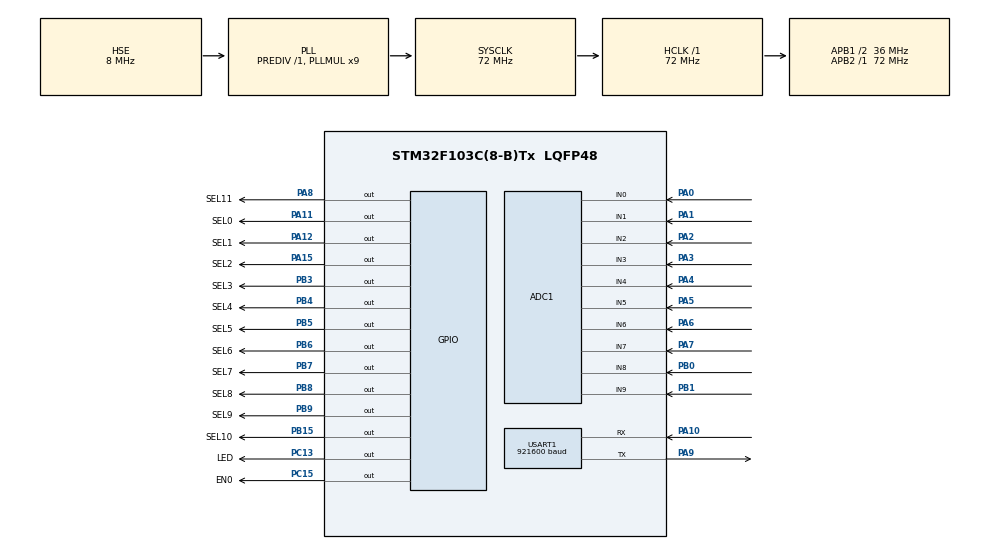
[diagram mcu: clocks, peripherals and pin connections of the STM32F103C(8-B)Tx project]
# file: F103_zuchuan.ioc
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ADC1.Channel-0\#ChannelRegularConversion=ADC_CHANNEL_0
ADC1.Channel-1\#ChannelRegularConversion=ADC_CHANNEL_1
ADC1.Channel-2\#ChannelRegularConversion=ADC_CHANNEL_2
ADC1.Channel-3\#ChannelRegularConversion=ADC_CHANNEL_3
ADC1.Channel-4\#ChannelRegularConversion=ADC_CHANNEL_4
ADC1.Channel-5\#ChannelRegularConversion=ADC_CHANNEL_5
ADC1.Channel-6\#ChannelRegularConversion=ADC_CHANNEL_6
ADC1.Channel-7\#ChannelRegularConversion=ADC_CHANNEL_7
ADC1.Channel-8\#ChannelRegularConversion=ADC_CHANNEL_8
ADC1.Channel-9\#ChannelRegularConversion=ADC_CHANNEL_9
ADC1.ContinuousConvMode=ENABLE
ADC1.NbrOfConversion=10
ADC1.NbrOfConversionFlag=1
ADC1.Rank-0\#ChannelRegularConversion=1
ADC1.Rank-1\#ChannelRegularConversion=2
ADC1.Rank-2\#ChannelRegularConversion=3
ADC1.Rank-3\#ChannelRegularConversion=4
ADC1.Rank-4\#ChannelRegularConversion=5
ADC1.Rank-5\#ChannelRegularConversion=6
ADC1.Rank-6\#ChannelRegularConversion=7
ADC1.Rank-7\#ChannelRegularConversion=8
ADC1.Rank-8\#ChannelRegularConversion=9
ADC1.Rank-9\#ChannelRegularConversion=10
ADC1.SamplingTime-0\#ChannelRegularConversion=ADC_SAMPLETIME_55CYCLES_5
ADC1.SamplingTime-1\#ChannelRegularConversion=ADC_SAMPLETIME_55CYCLES_5
ADC1.SamplingTime-2\#ChannelRegularConversion=ADC_SAMPLETIME_55CYCLES_5
ADC1.SamplingTime-3\#ChannelRegularConversion=ADC_SAMPLETIME_55CYCLES_5
ADC1.SamplingTime-4\#ChannelRegularConversion=ADC_SAMPLETIME_55CYCLES_5
ADC1.SamplingTime-5\#ChannelRegularConversion=ADC_SAMPLETIME_55CYCLES_5
ADC1.SamplingTime-6\#ChannelRegularConversion=ADC_SAMPLETIME_55CYCLES_5
ADC1.SamplingTime-7\#ChannelRegularConversion=ADC_SAMPLETIME_55CYCLES_5
ADC1.SamplingTime-8\#ChannelRegularConversion=ADC_SAMPLETIME_55CYCLES_5
ADC1.SamplingTime-9\#ChannelRegularConversion=ADC_SAMPLETIME_55CYCLES_5
ADC1.master=1
Dma.ADC1.0.Direction=DMA_PERIPH_TO_MEMORY
Dma.ADC1.0.Instance=DMA1_Channel1
Dma.ADC1.0.MemDataAlignment=DMA_MDATAALIGN_HALFWORD
Dma.ADC1.0.MemInc=DMA_MINC_ENABLE
Dma.ADC1.0.Mode=DMA_CIRCULAR
Dma.ADC1.0.PeriphDataAlignment=DMA_PDATAALIGN_HALFWORD
Dma.ADC1.0.PeriphInc=DMA_PINC_DISABLE
Dma.ADC1.0.Priority=DMA_PRIORITY_HIGH
Dma.Request0=ADC1
Dma.Request1=USART1_TX
Dma.USART1_TX.1.Direction=DMA_MEMORY_TO_PERIPH
Dma.USART1_TX.1.Instance=DMA1_Channel4
Dma.USART1_TX.1.MemDataAlignment=DMA_MDATAALIGN_BYTE
Dma.USART1_TX.1.MemInc=DMA_MINC_ENABLE
Dma.USART1_TX.1.Mode=DMA_NORMAL
Dma.USART1_TX.1.PeriphDataAlignment=DMA_PDATAALIGN_BYTE
Dma.USART1_TX.1.PeriphInc=DMA_PINC_DISABLE
Dma.USART1_TX.1.Priority=DMA_PRIORITY_LOW
FREERTOS.INCLUDE_vTaskDelayUntil=1
FREERTOS.Tasks01=defaultTask,0,128,StartDefaultTask,Default,NULL,Dynamic,NULL,NULL;ledTask,-3,64,LedTask,Default,NULL,Dynamic,NULL,NULL;uartTask,-2,64,UartTask,Default,NULL,Dynamic,NULL,NULL
FREERTOS.configMINIMAL_STACK_SIZE=64
FREERTOS.configTOTAL_HEAP_SIZE=2048
Mcu.Family=STM32F1
Mcu.Name=STM32F103C(8-B)Tx
Mcu.Package=LQFP48
NVIC.DMA1_Channel1_IRQn=true\:5\:0\:false\:false\:true\:true\:false\:true\:true
NVIC.DMA1_Channel4_IRQn=true\:5\:0\:false\:false\:true\:true\:false\:true\:true
NVIC.PriorityGroup=NVIC_PRIORITYGROUP_4
NVIC.TIM4_IRQn=true\:15\:0\:false\:false\:true\:false\:false\:true\:true
NVIC.TimeBase=TIM4_IRQn
NVIC.TimeBaseIP=TIM4
NVIC.USART1_IRQn=true\:5\:0\:false\:false\:true\:true\:true\:true\:true
PA0-WKUP.Signal=ADCx_IN0
PA1.Signal=ADCx_IN1
PA10.Mode=Asynchronous
PA10.Signal=USART1_RX
PA11.GPIO_Label=SEL0
PA11.GPIO_ModeDefaultOutputPP=GPIO_MODE_OUTPUT_PP
PA11.GPIO_PuPd=GPIO_PULLUP
PA11.GPIO_Speed=GPIO_SPEED_FREQ_HIGH
PA11.PinState=GPIO_PIN_SET
PA11.Signal=GPIO_Output
PA12.GPIO_Label=SEL1
PA12.GPIO_ModeDefaultOutputPP=GPIO_MODE_OUTPUT_PP
PA12.GPIO_PuPd=GPIO_PULLUP
PA12.GPIO_Speed=GPIO_SPEED_FREQ_HIGH
PA12.PinState=GPIO_PIN_SET
PA12.Signal=GPIO_Output
PA13.Mode=Serial_Wire
PA13.Signal=SYS_JTMS-SWDIO
PA14.Mode=Serial_Wire
PA14.Signal=SYS_JTCK-SWCLK
PA15.GPIO_Label=SEL2
PA15.GPIO_ModeDefaultOutputPP=GPIO_MODE_OUTPUT_PP
PA15.GPIO_PuPd=GPIO_PULLUP
PA15.GPIO_Speed=GPIO_SPEED_FREQ_HIGH
PA15.PinState=GPIO_PIN_SET
PA15.Signal=GPIO_Output
PA2.Signal=ADCx_IN2
PA3.Signal=ADCx_IN3
PA4.Signal=ADCx_IN4
PA5.Signal=ADCx_IN5
PA6.Signal=ADCx_IN6
PA7.Signal=ADCx_IN7
PA8.GPIO_Label=SEL11
PA8.GPIO_ModeDefaultOutputPP=GPIO_MODE_OUTPUT_PP
PA8.GPIO_PuPd=GPIO_PULLUP
PA8.GPIO_Speed=GPIO_SPEED_FREQ_HIGH
PA8.PinState=GPIO_PIN_SET
PA8.Signal=GPIO_Output
PA9.Mode=Asynchronous
PA9.Signal=USART1_TX
PB0.Signal=ADCx_IN8
PB1.Signal=ADCx_IN9
PB15.GPIO_Label=SEL10
PB15.GPIO_ModeDefaultOutputPP=GPIO_MODE_OUTPUT_PP
PB15.GPIO_PuPd=GPIO_PULLUP
PB15.GPIO_Speed=GPIO_SPEED_FREQ_HIGH
PB15.PinState=GPIO_PIN_SET
PB15.Signal=GPIO_Output
PB3.GPIO_Label=SEL3
PB3.GPIO_ModeDefaultOutputPP=GPIO_MODE_OUTPUT_PP
PB3.GPIO_PuPd=GPIO_PULLUP
PB3.GPIO_Speed=GPIO_SPEED_FREQ_HIGH
PB3.PinState=GPIO_PIN_SET
PB3.Signal=GPIO_Output
PB4.GPIO_Label=SEL4
PB4.GPIO_ModeDefaultOutputPP=GPIO_MODE_OUTPUT_PP
PB4.GPIO_PuPd=GPIO_PULLUP
PB4.GPIO_Speed=GPIO_SPEED_FREQ_HIGH
PB4.PinState=GPIO_PIN_SET
PB4.Signal=GPIO_Output
PB5.GPIO_Label=SEL5
PB5.GPIO_ModeDefaultOutputPP=GPIO_MODE_OUTPUT_PP
PB5.GPIO_PuPd=GPIO_PULLUP
PB5.GPIO_Speed=GPIO_SPEED_FREQ_HIGH
PB5.PinState=GPIO_PIN_SET
PB5.Signal=GPIO_Output
PB6.GPIO_Label=SEL6
PB6.GPIO_ModeDefaultOutputPP=GPIO_MODE_OUTPUT_PP
PB6.GPIO_PuPd=GPIO_PULLUP
PB6.GPIO_Speed=GPIO_SPEED_FREQ_HIGH
PB6.PinState=GPIO_PIN_SET
PB6.Signal=GPIO_Output
PB7.GPIO_Label=SEL7
PB7.GPIO_ModeDefaultOutputPP=GPIO_MODE_OUTPUT_PP
PB7.GPIO_PuPd=GPIO_PULLUP
PB7.GPIO_Speed=GPIO_SPEED_FREQ_HIGH
PB7.PinState=GPIO_PIN_SET
PB7.Signal=GPIO_Output
PB8.GPIO_Label=SEL8
PB8.GPIO_ModeDefaultOutputPP=GPIO_MODE_OUTPUT_PP
PB8.GPIO_PuPd=GPIO_PULLUP
PB8.GPIO_Speed=GPIO_SPEED_FREQ_HIGH
PB8.PinState=GPIO_PIN_SET
PB8.Signal=GPIO_Output
PB9.GPIO_Label=SEL9
PB9.GPIO_ModeDefaultOutputPP=GPIO_MODE_OUTPUT_PP
PB9.GPIO_PuPd=GPIO_PULLUP
PB9.GPIO_Speed=GPIO_SPEED_FREQ_HIGH
PB9.PinState=GPIO_PIN_SET
PB9.Signal=GPIO_Output
PC13-TAMPER-RTC.GPIO_Label=LED
PC13-TAMPER-RTC.GPIO_PuPd=GPIO_PULLUP
PC13-TAMPER-RTC.GPIO_Speed=GPIO_SPEED_FREQ_HIGH
PC13-TAMPER-RTC.PinState=GPIO_PIN_SET
PC13-TAMPER-RTC.Signal=GPIO_Output
PC15-OSC32_OUT.GPIO_Label=EN0
PC15-OSC32_OUT.GPIO_PuPd=GPIO_PULLDOWN
PC15-OSC32_OUT.GPIO_Speed=GPIO_SPEED_FREQ_LOW
PC15-OSC32_OUT.PinState=GPIO_PIN_RESET
PC15-OSC32_OUT.Signal=GPIO_Output
PD0-OSC_IN.Mode=HSE-External-Oscillator
PD0-OSC_IN.Signal=RCC_OSC_IN
PD1-OSC_OUT.Mode=HSE-External-Oscillator
PD1-OSC_OUT.Signal=RCC_OSC_OUT
ProjectManager.HeapSize=0x010
ProjectManager.StackSize=0xA00
ProjectManager.TargetToolchain=MDK-ARM V5.32
RCC.ADCPresc=RCC_ADCPCLK2_DIV6
RCC.AHBFreq_Value=72000000
RCC.APB1CLKDivider=RCC_HCLK_DIV2
RCC.APB1Freq_Value=36000000
RCC.APB1TimFreq_Value=72000000
RCC.APB2Freq_Value=72000000
RCC.APB2TimFreq_Value=72000000
RCC.HCLKFreq_Value=72000000
RCC.PLLMUL=RCC_PLL_MUL9
RCC.PLLSourceVirtual=RCC_PLLSOURCE_HSE
RCC.SYSCLKFreq_VALUE=72000000
RCC.SYSCLKSource=RCC_SYSCLKSOURCE_PLLCLK
RCC.USBFreq_Value=72000000
SH.ADCx_IN0.0=ADC1_IN0,IN0
SH.ADCx_IN1.0=ADC1_IN1,IN1
SH.ADCx_IN2.0=ADC1_IN2,IN2
SH.ADCx_IN3.0=ADC1_IN3,IN3
SH.ADCx_IN4.0=ADC1_IN4,IN4
SH.ADCx_IN5.0=ADC1_IN5,IN5
SH.ADCx_IN6.0=ADC1_IN6,IN6
SH.ADCx_IN7.0=ADC1_IN7,IN7
SH.ADCx_IN8.0=ADC1_IN8,IN8
SH.ADCx_IN9.0=ADC1_IN9,IN9
TIM3.AutoReloadPreload=TIM_AUTORELOAD_PRELOAD_DISABLE
TIM3.Prescaler=71
USART1.BaudRate=921600
USART1.VirtualMode=VM_ASYNC
VP_FREERTOS_VS_CMSIS_V1.Mode=CMSIS_V1
VP_SYS_VS_tim4.Mode=TIM4
VP_TIM3_VS_ClockSourceINT.Mode=Internal
board=custom

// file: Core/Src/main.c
/* USER CODE BEGIN Header */
/**
  ******************************************************************************
  * @file           : main.c
  * @brief          : Main program body
  ******************************************************************************
  * @attention
  *
  * Copyright (c) 2025 STMicroelectronics.
  * All rights reserved.
  *
  * This software is licensed under terms that can be found in the LICENSE file
  * in the root directory of this software component.
  * If no LICENSE file comes with this software, it is provided AS-IS.
  *
  ******************************************************************************
  */
/* USER CODE END Header */
#include "main.h"
#include "cmsis_os.h"
#include "adc.h"
#include "dma.h"
#include "tim.h"
#include "usart.h"
#include "gpio.h"

void SystemClock_Config(void);
void MX_FREERTOS_Init(void);

int main(void)
{

  /* MCU Configuration--------------------------------------------------------*/

  /* Reset of all peripherals, Initializes the Flash interface and the Systick. */
  HAL_Init();

  /* Configure the system clock */
  SystemClock_Config();

  /* Initialize all configured peripherals */
  MX_GPIO_Init();
  MX_DMA_Init();
  MX_USART1_UART_Init();
  MX_ADC1_Init();
  MX_TIM3_Init();
  /* USER CODE BEGIN 2 */
	LL_TIM_SetCounter(TIM3, 0);
//	LL_TIM_EnableIT_UPDATE(TIM3);//start TIM7 IRQ
	LL_TIM_EnableCounter(TIM3);//start TIM7
  /* USER CODE END 2 */

  /* Call init function for freertos objects (in freertos.c) */
  MX_FREERTOS_Init();

  /* Start scheduler */
  osKernelStart();

  /* We should never get here as control is now taken by the scheduler */
  /* Infinite loop */
  while (1)
  {

  }
}

void SystemClock_Config(void)
{
  RCC_OscInitTypeDef RCC_OscInitStruct = {0};
  RCC_ClkInitTypeDef RCC_ClkInitStruct = {0};
  RCC_PeriphCLKInitTypeDef PeriphClkInit = {0};

  /** Initializes the RCC Oscillators according to the specified parameters
  * in the RCC_OscInitTypeDef structure.
  */
  RCC_OscInitStruct.OscillatorType = RCC_OSCILLATORTYPE_HSE;
  RCC_OscInitStruct.HSEState = RCC_HSE_ON;
  RCC_OscInitStruct.HSEPredivValue = RCC_HSE_PREDIV_DIV1;
  RCC_OscInitStruct.HSIState = RCC_HSI_ON;
  RCC_OscInitStruct.PLL.PLLState = RCC_PLL_ON;
  RCC_OscInitStruct.PLL.PLLSource = RCC_PLLSOURCE_HSE;
  RCC_OscInitStruct.PLL.PLLMUL = RCC_PLL_MUL9;
  if (HAL_RCC_OscConfig(&RCC_OscInitStruct) != HAL_OK)
  {
    Error_Handler();
  }

  /** Initializes the CPU, AHB and APB buses clocks
  */
  RCC_ClkInitStruct.ClockType = RCC_CLOCKTYPE_HCLK|RCC_CLOCKTYPE_SYSCLK
                              |RCC_CLOCKTYPE_PCLK1|RCC_CLOCKTYPE_PCLK2;
  RCC_ClkInitStruct.SYSCLKSource = RCC_SYSCLKSOURCE_PLLCLK;
  RCC_ClkInitStruct.AHBCLKDivider = RCC_SYSCLK_DIV1;
  RCC_ClkInitStruct.APB1CLKDivider = RCC_HCLK_DIV2;
  RCC_ClkInitStruct.APB2CLKDivider = RCC_HCLK_DIV1;

  if (HAL_RCC_ClockConfig(&RCC_ClkInitStruct, FLASH_LATENCY_2) != HAL_OK)
  {
    Error_Handler();
  }
  PeriphClkInit.PeriphClockSelection = RCC_PERIPHCLK_ADC;
  PeriphClkInit.AdcClockSelection = RCC_ADCPCLK2_DIV6;
  if (HAL_RCCEx_PeriphCLKConfig(&PeriphClkInit) != HAL_OK)
  {
    Error_Handler();
  }
}

void HAL_TIM_PeriodElapsedCallback(TIM_HandleTypeDef *htim)
{
  if (htim->Instance == TIM4) {
    HAL_IncTick();
  }
}

void Error_Handler(void)
{
  __disable_irq();
  while (1)
  {
  }
}

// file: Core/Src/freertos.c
/* USER CODE BEGIN Header */
/**
  ******************************************************************************
  * File Name          : freertos.c
  * Description        : Code for freertos applications
  ******************************************************************************
  * @attention
  *
  * Copyright (c) 2025 STMicroelectronics.
  * All rights reserved.
  *
  * This software is licensed under terms that can be found in the LICENSE file
  * in the root directory of this software component.
  * If no LICENSE file comes with this software, it is provided AS-IS.
  *
  ******************************************************************************
  */
/* USER CODE END Header */

#include "FreeRTOS.h"
#include "task.h"
#include "main.h"
#include "cmsis_os.h"

osThreadId defaultTaskHandle;
osThreadId ledTaskHandle;
osThreadId uartTaskHandle;

void StartDefaultTask(void const * argument);
void LedTask(void const * argument);
void UartTask(void const * argument);

void MX_FREERTOS_Init(void); /* (MISRA C 2004 rule 8.1) */

/* GetIdleTaskMemory prototype (linked to static allocation support) */
void vApplicationGetIdleTaskMemory( StaticTask_t **ppxIdleTaskTCBBuffer, StackType_t **ppxIdleTaskStackBuffer, uint32_t *pulIdleTaskStackSize );

/* USER CODE BEGIN GET_IDLE_TASK_MEMORY */
static StaticTask_t xIdleTaskTCBBuffer;
static StackType_t xIdleStack[configMINIMAL_STACK_SIZE];

void vApplicationGetIdleTaskMemory( StaticTask_t **ppxIdleTaskTCBBuffer, StackType_t **ppxIdleTaskStackBuffer, uint32_t *pulIdleTaskStackSize )
{
  *ppxIdleTaskTCBBuffer = &xIdleTaskTCBBuffer;
  *ppxIdleTaskStackBuffer = &xIdleStack[0];
  *pulIdleTaskStackSize = configMINIMAL_STACK_SIZE;
  /* place for user code */
}
/* USER CODE END GET_IDLE_TASK_MEMORY */

void MX_FREERTOS_Init(void) {

  /* Create the thread(s) */
  /* definition and creation of defaultTask */
  osThreadDef(defaultTask, StartDefaultTask, osPriorityNormal, 0, 128);
  defaultTaskHandle = osThreadCreate(osThread(defaultTask), NULL);

  /* definition and creation of ledTask */
  osThreadDef(ledTask, LedTask, osPriorityIdle, 0, 64);
  ledTaskHandle = osThreadCreate(osThread(ledTask), NULL);

  /* definition and creation of uartTask */
  osThreadDef(uartTask, UartTask, osPriorityLow, 0, 64);
  uartTaskHandle = osThreadCreate(osThread(uartTask), NULL);

}

/* USER CODE BEGIN Header_StartDefaultTask */
/**
  * @brief  Function implementing the defaultTask thread.
  * @param  argument: Not used
  * @retval None
  */
volatile Word_union res_data_1[1004];
volatile Word_union res_data_2[1004];
volatile Word_union* res_send_p=res_data_1;
volatile Word_union* res_store_p=res_data_2;
Adc_IN_Struct adc_value_struct;

char tx_buff[128];

/* USER CODE END Header_StartDefaultTask */
void StartDefaultTask(void const * argument)
{
  /* USER CODE BEGIN StartDefaultTask */
	uint16_t i=0,j=0;

	HAL_ADC_Start_DMA(&hadc1,(uint32_t *)(&(adc_value_struct.IN1)),10);
	// 1/12MHz*(239.5+12.5=252)cycles *10ch = 210us    ADC转换时配置为 239.5cycles
	// 1/12MHz*(55.5+12.5=68)cycles *10ch = 56.667us    ADC转换时配置为 55.5cycles

	TickType_t xLastWakeTime;

	res_data_1[0].byte[0]=0x55;//帧头
	res_data_1[0].byte[1]=0xAA;
	res_data_1[1].byte[0]=0xBB;
	res_data_1[1].byte[1]=0xCC;
	for(uint16_t i=0;i<1000;i++)
	{
		res_data_1[2+i].word16=i*1+1;
	}
	res_data_1[1002].byte[0]=0xAA;//帧尾
	res_data_1[1002].byte[1]=0x55;
	res_data_1[1003].byte[0]=0x66;
	res_data_1[1003].byte[1]=0x77;

	res_data_2[0].byte[0]=0x55;//帧头
	res_data_2[0].byte[1]=0xAA;
	res_data_2[1].byte[0]=0xBB;
	res_data_2[1].byte[1]=0xCC;
	for(uint16_t i=0;i<1000;i++)
	{
		res_data_2[2+i].word16=i*2+2;
	}
	res_data_2[1002].byte[0]=0xAA;//帧尾
	res_data_2[1002].byte[1]=0x55;
	res_data_2[1003].byte[0]=0x66;
	res_data_2[1003].byte[1]=0x77;

	xLastWakeTime = xTaskGetTickCount();
  /* Infinite loop */
	for(;;)
	{
		for(j=0;j<10;j++)
		{
			for(i=1;i<11;i++)
			{
				Select_switcher(i-1);
				user_delaynus_tim(70);

				res_store_p[j*100+(i-1)*10+0+2].word16=adc_value_struct.IN1;
				res_store_p[j*100+(i-1)*10+1+2].word16=adc_value_struct.IN2;
				res_store_p[j*100+(i-1)*10+2+2].word16=adc_value_struct.IN3;
				res_store_p[j*100+(i-1)*10+3+2].word16=adc_value_struct.IN4;
				res_store_p[j*100+(i-1)*10+4+2].word16=adc_value_struct.IN5;
				res_store_p[j*100+(i-1)*10+5+2].word16=adc_value_struct.IN6;
				res_store_p[j*100+(i-1)*10+6+2].word16=adc_value_struct.IN7;
				res_store_p[j*100+(i-1)*10+7+2].word16=adc_value_struct.IN8;
				res_store_p[j*100+(i-1)*10+8+2].word16=adc_value_struct.IN9;
				res_store_p[j*100+(i-1)*10+9+2].word16=adc_value_struct.IN10;
			}
			vTaskDelayUntil(&xLastWakeTime, pdMS_TO_TICKS(5));//osDelay(1);
		}

//		for(i=0;i<10;i++)
//		{
//			Select_switcher(i);
//			user_delaynus_tim(500);
//			sprintf(tx_buff,"line:%2d:  ",i);
//			sprintf(tx_buff+strlen(tx_buff),"%4d;%4d;%4d;%4d;%4d;%4d;%4d;%4d;%4d;%4d;\r\n",
//			adc_value_struct.IN1,adc_value_struct.IN2,adc_value_struct.IN3,adc_value_struct.IN4,adc_value_struct.IN5,
//			adc_value_struct.IN6,adc_value_struct.IN7,adc_value_struct.IN8,adc_value_struct.IN9,adc_value_struct.IN10);
//			HAL_UART_Transmit(&huart1,(uint8_t *)tx_buff,strlen(tx_buff),0xffff);
//		}
//		sprintf(tx_buff,"  \r\n");
//		HAL_UART_Transmit(&huart1,(uint8_t *)tx_buff,strlen(tx_buff),0xffff);
//		vTaskDelayUntil(&xLastWakeTime, pdMS_TO_TICKS(300));//osDelay(1);

//		HAL_UART_Transmit(&huart1,(uint8_t *)res_store_p,2008,0xffff);//阻塞发送
//		while(HAL_DMA_GetState(&hdma_usart1_tx) != HAL_DMA_STATE_READY);
		exchange_res_p();//切换缓存区
		HAL_UART_Transmit_DMA(&huart1,(uint8_t *)res_store_p,2008);
//		vTaskDelayUntil(&xLastWakeTime, pdMS_TO_TICKS(50));//osDelay(1);
	}
  /* USER CODE END StartDefaultTask */
}

void LedTask(void const * argument)
{
  /* USER CODE BEGIN LedTask */
  /* Infinite loop */
	for(;;)
	{
		LL_GPIO_TogglePin(LED_GPIO_Port,LED_Pin);
//		LL_GPIO_TogglePin(LED_GPIO_Port,LED_Pin);//LL_GPIO_SetOutputPin  LL_GPIO_ResetOutputPin
		osDelay(200);
	}
  /* USER CODE END LedTask */
}

void UartTask(void const * argument)
{
  for(;;)
  {
    osDelay(1);
  }
}

/* USER CODE BEGIN Application */
void Select_switcher(uint8_t index)
{
	switch(index)
	{
		case 0:
			LL_GPIO_SetOutputPin(SEL9_GPIO_Port,SEL9_Pin);//高电平
			LL_GPIO_ResetOutputPin(SEL0_GPIO_Port,SEL0_Pin);//低电平
			break;
		case 1:
			LL_GPIO_SetOutputPin(SEL0_GPIO_Port,SEL0_Pin);//高电平
			LL_GPIO_ResetOutputPin(SEL1_GPIO_Port,SEL1_Pin);//低电平
			break;
		case 2:
			LL_GPIO_SetOutputPin(SEL1_GPIO_Port,SEL1_Pin);//高电平
			LL_GPIO_ResetOutputPin(SEL2_GPIO_Port,SEL2_Pin);//低电平
			break;
		case 3:
			LL_GPIO_SetOutputPin(SEL2_GPIO_Port,SEL2_Pin);//高电平
			LL_GPIO_ResetOutputPin(SEL3_GPIO_Port,SEL3_Pin);//低电平
			break;
		case 4:
			LL_GPIO_SetOutputPin(SEL3_GPIO_Port,SEL3_Pin);//高电平
			LL_GPIO_ResetOutputPin(SEL4_GPIO_Port,SEL4_Pin);//低电平
			break;
		case 5:
			LL_GPIO_SetOutputPin(SEL4_GPIO_Port,SEL4_Pin);//高电平
			LL_GPIO_ResetOutputPin(SEL5_GPIO_Port,SEL5_Pin);//低电平
			break;
		case 6:
			LL_GPIO_SetOutputPin(SEL5_GPIO_Port,SEL5_Pin);//高电平
			LL_GPIO_ResetOutputPin(SEL6_GPIO_Port,SEL6_Pin);//低电平
			break;
		case 7:
			LL_GPIO_SetOutputPin(SEL6_GPIO_Port,SEL6_Pin);//高电平
			LL_GPIO_ResetOutputPin(SEL7_GPIO_Port,SEL7_Pin);//低电平
			break;
		case 8:
			LL_GPIO_SetOutputPin(SEL7_GPIO_Port,SEL7_Pin);//高电平
			LL_GPIO_ResetOutputPin(SEL8_GPIO_Port,SEL8_Pin);//低电平
			break;
		case 9:
			LL_GPIO_SetOutputPin(SEL8_GPIO_Port,SEL8_Pin);//高电平
			LL_GPIO_ResetOutputPin(SEL9_GPIO_Port,SEL9_Pin);//低电平
			break;
	}
}

//电压采集完成之后需要进行缓存切换
void exchange_res_p(void)
{
	static uint8_t state=1;//第一次运行该函数前 采集的数据存到res_data_2   第一次运行该函数后状态变为0，发送的指针指向res_data_1  之后循环往复
	state=!state;

	if(state)
	{
		res_send_p=res_data_1;
		res_store_p=res_data_2;
	}
	else
	{
		res_send_p=res_data_2;
		res_store_p=res_data_1;
	}
}

void user_delaynus_tim(uint16_t nus)
{

	LL_TIM_SetCounter(TIM3, 0);
	while (LL_TIM_GetCounter(TIM3) < nus)
	{
		;// Optionally, add a timeout condition here to avoid an infinite loop
	}
}

void HAL_UART_TxCpltCallback(UART_HandleTypeDef *huart)
{
	if (huart->Instance == USART1) //如果是串口1
	{

		// 在F7系列是可以不写的，F1必须写
//		__HAL_DMA_CLEAR_FLAG(&hdma_usart1_tx, DMA_FLAG_TC4); //清除DMA2_Steam7传输完成标志
		HAL_UART_DMAStop(&huart1);		//传输完成以后关闭串口DMA,缺了这一句会死机
	}
}

void UART1_TX_DMA_Send(uint8_t *buffer, uint16_t length)
{
    //等待上一次的数据发送完毕
	while(HAL_DMA_GetState(&hdma_usart1_tx) != HAL_DMA_STATE_READY);
    //while(__HAL_DMA_GET_COUNTER(&hdma_usart1_tx));

    //关闭DMA
    __HAL_DMA_DISABLE(&hdma_usart1_tx);

    //开始发送数据
    HAL_UART_Transmit_DMA(&huart1, buffer, length);
}
/* USER CODE END Application */
